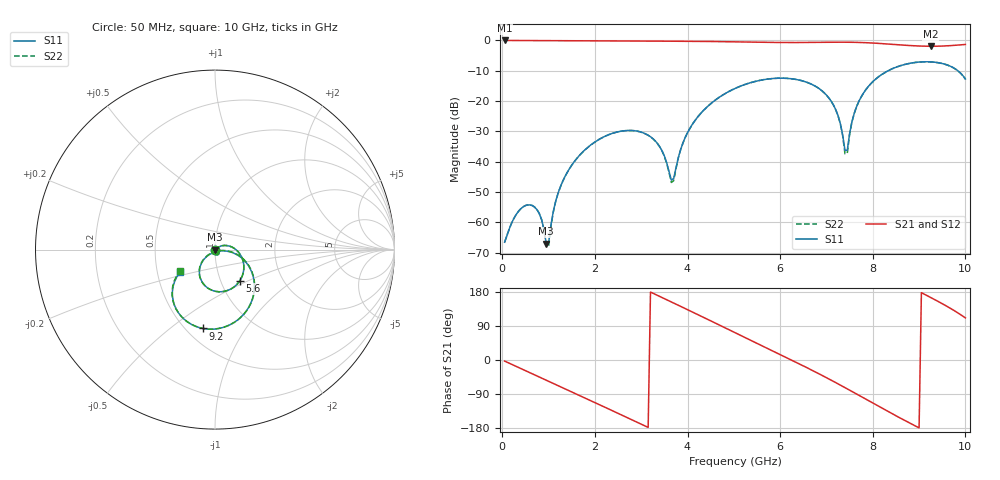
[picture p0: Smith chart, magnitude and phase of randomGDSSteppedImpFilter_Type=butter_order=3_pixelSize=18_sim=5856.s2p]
! freq	dB(S11)	phase(S11)	dB(S12)	phase(S12)
!  dB(S21)	phase(S21)	dB(S22)	phase(S22)
!S-par simulation data
#  GHz  S  DB  R 50
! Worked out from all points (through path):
!   200 points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, 50 MHz to 10 GHz, reference 50 ohm
!   highest |S21| = -0.01 dB at 50 MHz (marker M1); lowest = -1.9 dB at 9.25 GHz (marker M2)
!   group delay of S21, straight-line fit = 168 ps
!   lowest |S11| = -67.1 dB at 950 MHz (marker M3), VSWR 1.00, Z = 50 + j0.00658 ohm
!   |S11| at or under -10 dB: start of sweep to 8.332 GHz; 9.836 GHz to end of sweep
!   |S22| runs from -67.9 to -7.0 dB; largest |S21 - S12| = 0
!   S11 on the Smith chart (normalised r, x): 50 MHz: 1.00, -0.00; 5.6 GHz: 1.23, -0.45; 9.2 GHz: 0.60, -0.66; 10 GHz: 0.66, -0.17
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0.05  -66.60 -29.1  -0.01 -2.9  -0.01 -2.9  -66.60 -29.1
0.3  -57.45 -82.7  -0.03 -16.9  -0.03 -16.9  -57.43 -82.5
0.6  -54.29 -110.8  -0.04 -33.7  -0.04 -33.7  -54.26 -110.1
0.8  -57.18 -131.5  -0.05 -45.0  -0.05 -45.0  -57.14 -129.7
0.95  -67.12 171.4  -0.06 -53.4  -0.06 -53.4  -67.84 177.0
1  -66.80 105.9  -0.07 -56.2  -0.07 -56.2  -67.90 104.8
1.25  -48.47 34.4  -0.08 -70.2  -0.08 -70.2  -48.54 33.0
1.75  -36.62 -1.2  -0.11 -98.3  -0.11 -98.3  -36.64 -1.9
2.7  -29.72 -56.7  -0.19 -152.1  -0.19 -152.1  -29.73 -57.3
3.4  -35.09 -88.1  -0.24 167.7  -0.24 167.7  -35.14 -89.5
3.7  -45.61 -4.5  -0.26 150.4  -0.26 150.4  -46.30 -2.1
4.1  -27.79 30.0  -0.29 127.0  -0.29 127.0  -27.80 30.5
5.05  -15.68 -20.2  -0.47 70.7  -0.47 70.7  -15.68 -20.2
5.6  -13.07 -51.6  -0.61 38.1  -0.61 38.1  -13.07 -51.7
6.7  -14.62 -114.7  -0.65 -27.8  -0.65 -27.8  -14.62 -115.1
7.2  -22.84 -139.5  -0.58 -59.6  -0.58 -59.6  -22.88 -141.1
7.4  -36.36 -104.6  -0.58 -72.9  -0.58 -72.9  -37.44 -109.3
7.75  -18.62 -12.0  -0.68 -96.6  -0.68 -96.6  -18.63 -10.9
8.35  -9.85 -47.5  -1.21 -137.3  -1.21 -137.3  -9.86 -47.2
9.2  -7.04 -98.9  -1.92 168.2  -1.92 168.2  -7.05 -99.0
9.25  -7.07 -101.9  -1.92 165.0  -1.92 165.0  -7.08 -102.0
10  -12.72 -147.1  -1.33 111.1  -1.33 111.1  -12.78 -148.3
